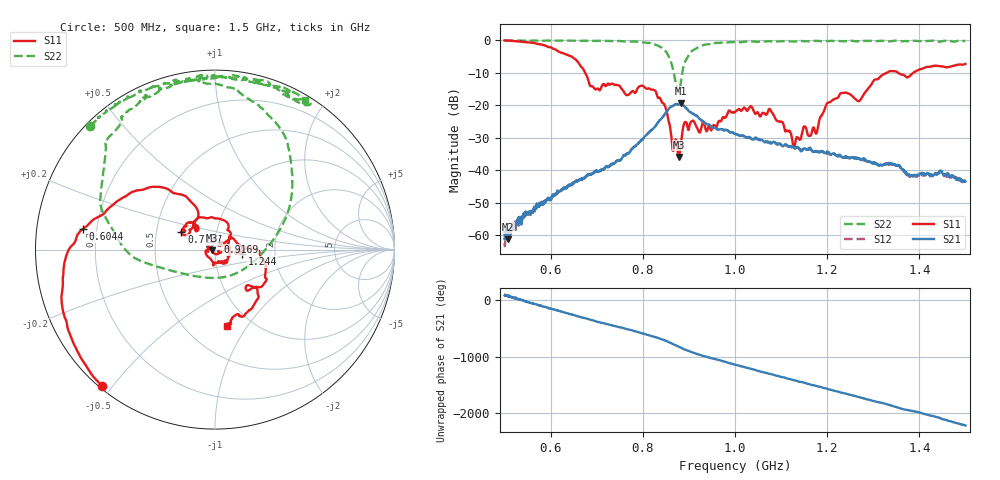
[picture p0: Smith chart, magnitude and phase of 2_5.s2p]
!Agilent Technologies,E8364B,US42250235,A.06.04.32
!Agilent E8364B: A.06.04.32
!Date: Friday, January 15, 2021 16:17:53
!Correction: S11(Full 2 Port(1,2)) S21(Full 2 Port(1,2)) S12(Full 2 Port(1,2)) S22(Full 2 Port(1,2))
!S2P File: Measurements: S11, S21, S12, S22:
# Hz S  dB  R 50
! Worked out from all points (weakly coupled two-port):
!   1601 points, 500 MHz to 1.5 GHz, reference 50 ohm
!   highest |S21| = -19.48 dB at 881.9 MHz (marker M1); lowest = -61.3 dB at 507.5 MHz (marker M2)
!   lowest |S11| = -35.9 dB at 878.1 MHz (marker M3), VSWR 1.03, Z = 48.5 - j0.306 ohm
!   |S11| at or under -10 dB: 674.6 MHz to 1.33 GHz (655.1 MHz wide, 65.4 % of centre); 1.353 GHz to 1.387 GHz (34.15 MHz wide, 2.49 % of centre)
!   |S22| runs from -16.1 to -0.1 dB; largest |S21 - S12| = 0.0031
!   S11 on the Smith chart (normalised r, x): 500 MHz: 0.01, -0.47; 604.4 MHz: 0.15, +0.08; 713.8 MHz: 0.67, +0.14; 916.9 MHz: 1.03, +0.09; 1.244 GHz: 1.35, -0.07; 1.5 GHz: 0.77, -0.81
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5e8  -0.12 -129.6  -61.12 89.0  -62.41 108.1  -0.16 135.2
5.075e8  -0.16 -132.6  -61.25 89.2  -58.50 69.3  -0.19 133.9
5.61875e8  -0.86 -160.4  -52.80 -52.6  -52.37 -54.8  -0.15 128.0
6.04375e8  -2.56 171.1  -47.98 -155.6  -47.77 -153.6  -0.20 124.1
6.66875e8  -8.28 125.6  -42.45 58.9  -42.61 59.2  -0.21 115.1
6.89375e8  -14.17 126.6  -41.06 10.4  -41.24 10.5  -0.27 112.7
7.1375e8  -13.52 152.4  -39.85 -42.0  -39.65 -42.4  -0.26 110.7
8.3375e8  -17.83 57.7  -25.12 52.0  -25.09 51.4  -1.79 69.3
8.59375e8  -26.98 -16.6  -20.60 -29.5  -20.75 -29.7  -6.07 32.1
8.78125e8  -35.93 -168.6  -19.78 -99.8  -19.76 -100.4  -16.03 -93.6
8.81875e8  -32.58 175.7  -19.48 -114.9  -19.48 -115.2  -13.68 -137.4
8.9125e8  -25.20 119.4  -20.47 -151.7  -20.46 -152.5  -6.76 -175.0
9.16875e8  -26.77 71.8  -23.21 134.2  -23.37 133.1  -2.50 146.4
1e9  -22.11 -0.4  -28.87 -57.8  -28.78 -58.8  -0.54 114.1
1.076875e9  -21.46 -97.5  -31.70 136.6  -31.42 136.3  -0.36 103.5
1.128125e9  -33.11 145.7  -33.13 25.0  -32.89 25.3  -0.44 95.1
1.166875e9  -28.23 53.4  -33.94 -59.0  -33.93 -58.4  -0.38 89.7
1.20125e9  -19.27 35.2  -34.24 -129.5  -34.79 -130.8  -0.32 88.3
1.244375e9  -16.30 -8.9  -36.00 139.7  -35.91 139.9  -0.28 82.0
1.27e9  -18.74 -4.4  -36.44 84.3  -36.45 83.2  -0.34 80.1
1.33375e9  -9.73 -29.4  -37.75 -48.1  -38.25 -49.1  -0.38 74.9
1.5e9  -7.32 -81.2  -43.44 -54.2  -43.36 -57.6  -0.25 58.9
